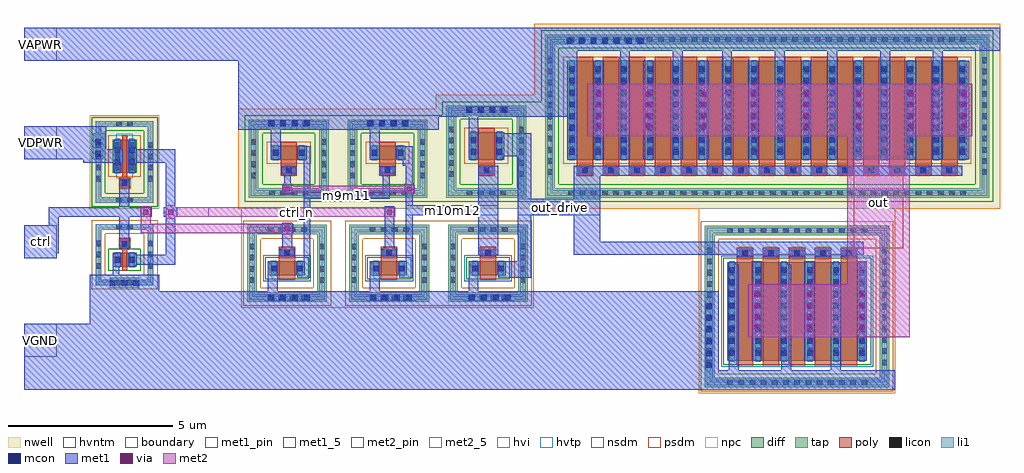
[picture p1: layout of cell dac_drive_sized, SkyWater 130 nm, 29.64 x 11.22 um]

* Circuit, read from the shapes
.subckt dac_drive_sized VAPWR VDPWR VGND ctrl ctrl_n m10m12 m9m11 out out_drive
XM1 ctrl_n ctrl VGND VGND sky130_fd_pr__nfet_01v8 w=0.42 l=0.15
XM2 m9m11 ctrl VGND VGND sky130_fd_pr__nfet_g5v0d10v5 w=0.42 l=0.5
XM3 m10m12 ctrl_n VGND VGND sky130_fd_pr__nfet_g5v0d10v5 w=0.42 l=0.5
XM4 out_drive m10m12 VGND VGND sky130_fd_pr__nfet_g5v0d10v5 w=0.42 l=0.5
XM5 out out_drive VGND VGND sky130_fd_pr__nfet_g5v0d10v5 w=3 l=0.5 m=5
XM6 ctrl_n ctrl VDPWR VDPWR sky130_fd_pr__pfet_01v8_hvt w=1 l=0.15
XM7 m9m11 m10m12 VAPWR VAPWR sky130_fd_pr__pfet_g5v0d10v5 w=0.42 l=0.5
XM8 m10m12 m9m11 VAPWR VAPWR sky130_fd_pr__pfet_g5v0d10v5 w=0.42 l=0.5
XM9 out_drive m10m12 VAPWR VAPWR sky130_fd_pr__pfet_g5v0d10v5 w=0.84 l=0.5
XM10 out out_drive VAPWR VAPWR sky130_fd_pr__pfet_g5v0d10v5 w=3 l=0.5 m=15
.ends

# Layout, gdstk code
from math import pi, radians
import gdstk
lib = gdstk.Library(unit=1e-6, precision=1e-09)
def R(c, l, rs):  # rectangles x0, y0, x1, y1
    for r in rs: c.add(gdstk.rectangle(r[:2], r[2:], *l))
def A(c, l, x, y, w, h, nx, ny, dx, dy):  # array of equal rectangles
    R(c, l, [(x+i*dx, y+j*dy, x+i*dx+w, y+j*dy+h) for i in range(nx) for j in range(ny)])
nwell = (64, 20)
diff = (65, 20)
tap = (65, 44)
poly = (66, 20)
licon = (66, 44)
li1 = (67, 20)
mcon = (67, 44)
met1_5 = (68, 5)
met1_pin = (68, 16)
met1 = (68, 20)
via = (68, 44)
met2_5 = (69, 5)
met2_pin = (69, 16)
met2 = (69, 20)
hvi = (75, 20)
hvtp = (78, 44)
nsdm = (93, 44)
psdm = (94, 20)
npc = (95, 20)
hvntm = (125, 20)
boundary = (235, 4)

sky130_fd_pr__pfet_g5v0d = lib.new_cell('sky130_fd_pr__pfet_g5v0d10v5_ZHZHT3')
R(sky130_fd_pr__pfet_g5v0d, nwell, [(-1.54,-1.52,1.54,1.52)])
R(sky130_fd_pr__pfet_g5v0d, diff, [(-0.54,-0.39,0.54,0.03)])
R(sky130_fd_pr__pfet_g5v0d, tap, [(-1.21,-1.19,1.21,-0.9), (-1.21,-0.9,-0.92,0.9), (0.92,-0.9,1.21,0.9), (-1.21,0.9,1.21,1.19)])
R(sky130_fd_pr__pfet_g5v0d, poly, [(-0.25,-0.52,0.25,0.515)])
A(sky130_fd_pr__pfet_g5v0d, licon, -0.595, -1.13, 0.17, 0.17, 4, 2, 0.34, 2.09)
A(sky130_fd_pr__pfet_g5v0d, licon, -1.15, -0.595, 0.17, 0.17, 1, 4, 0, 0.34)
A(sky130_fd_pr__pfet_g5v0d, licon, 0.98, -0.595, 0.17, 0.17, 1, 4, 0, 0.34)
R(sky130_fd_pr__pfet_g5v0d, licon, [(-0.48,-0.265,-0.31,-0.095), (0.31,-0.265,0.48,-0.095), (-0.085,0.265,0.085,0.435)])
R(sky130_fd_pr__pfet_g5v0d, li1, [(-1.15,-1.13,1.15,-0.96), (-1.15,-0.96,-0.98,0.96), (0.98,-0.96,1.15,0.96), (-0.48,-0.41,-0.31,0.05), (0.31,-0.41,0.48,0.05), (-0.25,0.265,0.25,0.435), (-1.15,0.96,1.15,1.13)])
R(sky130_fd_pr__pfet_g5v0d, mcon, [(-0.48,-0.265,-0.31,-0.095), (0.31,-0.265,0.48,-0.095), (-0.085,0.265,0.085,0.435)])
R(sky130_fd_pr__pfet_g5v0d, met1, [(-0.51,-0.39,-0.28,0.03), (0.28,-0.39,0.51,0.03), (-0.23,0.235,0.23,0.465)])
R(sky130_fd_pr__pfet_g5v0d, hvi, [(-1.54,-1.52,1.54,1.52)])
R(sky130_fd_pr__pfet_g5v0d, nsdm, [(-1.335,-1.315,1.335,-0.775), (-1.335,-0.775,-0.795,0.775), (0.795,-0.775,1.335,0.775), (-1.335,0.775,1.335,1.315)])
R(sky130_fd_pr__pfet_g5v0d, psdm, [(-0.665,-0.515,0.665,0.155)])
R(sky130_fd_pr__pfet_g5v0d, npc, [(-0.185,0.165,0.185,0.535)])
R(sky130_fd_pr__pfet_g5v0d, boundary, [(-1.065,-1.045,1.065,1.045)])

sky130_fd_pr__nfet_g5v0d = lib.new_cell('sky130_fd_pr__nfet_g5v0d10v5_ZFATWT')
R(sky130_fd_pr__nfet_g5v0d, diff, [(-0.54,-0.365,0.54,0.055)])
R(sky130_fd_pr__nfet_g5v0d, tap, [(-1.21,-1.165,1.21,-0.875), (-1.21,-0.875,-0.92,0.875), (0.92,-0.875,1.21,0.875), (-1.21,0.875,1.21,1.165)])
R(sky130_fd_pr__nfet_g5v0d, poly, [(-0.25,-0.495,0.25,0.495)])
A(sky130_fd_pr__nfet_g5v0d, licon, -0.595, -1.105, 0.17, 0.17, 4, 2, 0.34, 2.04)
A(sky130_fd_pr__nfet_g5v0d, licon, -1.15, -0.595, 0.17, 0.17, 1, 4, 0, 0.34)
A(sky130_fd_pr__nfet_g5v0d, licon, 0.98, -0.595, 0.17, 0.17, 1, 4, 0, 0.34)
R(sky130_fd_pr__nfet_g5v0d, licon, [(-0.48,-0.24,-0.31,-0.07), (0.31,-0.24,0.48,-0.07), (-0.085,0.245,0.085,0.415)])
R(sky130_fd_pr__nfet_g5v0d, li1, [(-1.15,-1.105,1.15,-0.935), (-1.15,-0.935,-0.98,0.935), (0.98,-0.935,1.15,0.935), (-0.48,-0.385,-0.31,0.075), (0.31,-0.385,0.48,0.075), (-0.25,0.245,0.25,0.415), (-1.15,0.935,1.15,1.105)])
R(sky130_fd_pr__nfet_g5v0d, mcon, [(-0.48,-0.24,-0.31,-0.07), (0.31,-0.24,0.48,-0.07), (-0.085,0.245,0.085,0.415)])
R(sky130_fd_pr__nfet_g5v0d, met1, [(-0.51,-0.365,-0.28,0.055), (0.28,-0.365,0.51,0.055), (-0.23,0.215,0.23,0.445)])
R(sky130_fd_pr__nfet_g5v0d, hvi, [(-1.395,-1.35,1.395,1.35)])
R(sky130_fd_pr__nfet_g5v0d, nsdm, [(-0.665,-0.49,0.665,0.18)])
R(sky130_fd_pr__nfet_g5v0d, psdm, [(-1.335,-1.29,1.335,-0.75), (-1.335,-0.75,-0.795,0.75), (0.795,-0.75,1.335,0.75), (-1.335,0.75,1.335,1.29)])
R(sky130_fd_pr__nfet_g5v0d, npc, [(-0.185,0.145,0.185,0.515)])
R(sky130_fd_pr__nfet_g5v0d, hvntm, [(-0.725,-0.55,0.725,0.24)])
R(sky130_fd_pr__nfet_g5v0d, boundary, [(-1.065,-1.02,1.065,1.02)])

sky130_fd_pr__pfet_01v8_ = lib.new_cell('sky130_fd_pr__pfet_01v8_hvt_MGS3BN')
R(sky130_fd_pr__pfet_01v8_, nwell, [(-1.055,-1.42,1.055,1.42)])
R(sky130_fd_pr__pfet_01v8_, diff, [(-0.365,-0.68,0.365,0.32)])
R(sky130_fd_pr__pfet_01v8_, tap, [(-0.875,-1.24,0.875,-1.07), (-0.875,-1.07,-0.705,1.07), (0.705,-1.07,0.875,1.07), (-0.875,1.07,0.875,1.24)])
R(sky130_fd_pr__pfet_01v8_, poly, [(-0.075,-0.81,0.075,0.475), (-0.165,0.475,0.165,0.805)])
A(sky130_fd_pr__pfet_01v8_, licon, -0.305, -0.605, 0.17, 0.17, 1, 3, 0, 0.34)
A(sky130_fd_pr__pfet_01v8_, licon, 0.135, -0.605, 0.17, 0.17, 1, 3, 0, 0.34)
A(sky130_fd_pr__pfet_01v8_, licon, -0.875, -0.595, 0.17, 0.17, 1, 4, 0, 0.34)
A(sky130_fd_pr__pfet_01v8_, licon, 0.705, -0.595, 0.17, 0.17, 1, 4, 0, 0.34)
R(sky130_fd_pr__pfet_01v8_, licon, [(-0.255,-1.24,-0.085,-1.07), (0.085,-1.24,0.255,-1.07), (-0.085,0.555,0.085,0.725), (-0.255,1.07,-0.085,1.24), (0.085,1.07,0.255,1.24)])
R(sky130_fd_pr__pfet_01v8_, li1, [(-0.875,-1.24,0.875,-1.07), (-0.875,-1.07,-0.705,1.07), (0.705,-1.07,0.875,1.07), (-0.305,-0.7,-0.135,0.34), (0.135,-0.7,0.305,0.34), (-0.165,0.555,0.165,0.725), (-0.875,1.07,0.875,1.24)])
R(sky130_fd_pr__pfet_01v8_, mcon, [(-0.305,-0.445,-0.135,-0.275), (0.135,-0.445,0.305,-0.275), (-0.305,-0.085,-0.135,0.085), (0.135,-0.085,0.305,0.085), (-0.085,0.555,0.085,0.725)])
R(sky130_fd_pr__pfet_01v8_, met1, [(-0.335,-0.68,-0.105,0.32), (0.105,-0.68,0.335,0.32), (-0.145,0.525,0.145,0.755)])
R(sky130_fd_pr__pfet_01v8_, hvtp, [(-0.255,-0.86,0.255,0.5)])
R(sky130_fd_pr__pfet_01v8_, nsdm, [(-1,-1.365,1,-0.945), (-1,-0.945,-0.58,0.945), (0.58,-0.945,1,0.945), (-1,0.945,1,1.365)])
R(sky130_fd_pr__pfet_01v8_, psdm, [(-0.49,-0.805,0.49,0.445)])
R(sky130_fd_pr__pfet_01v8_, npc, [(-0.185,0.455,0.185,0.825)])
R(sky130_fd_pr__pfet_01v8_, boundary, [(-0.79,-1.155,0.79,1.155)])

sky130_fd_pr__nfet_01v8_ = lib.new_cell('sky130_fd_pr__nfet_01v8_L78EGD')
R(sky130_fd_pr__nfet_01v8_, diff, [(-0.365,-0.365,0.365,0.055)])
R(sky130_fd_pr__nfet_01v8_, tap, [(-0.875,-0.925,0.875,-0.755), (-0.875,-0.755,-0.705,0.755), (0.705,-0.755,0.875,0.755), (-0.875,0.755,0.875,0.925)])
R(sky130_fd_pr__nfet_01v8_, poly, [(-0.075,-0.495,0.075,0.165), (-0.165,0.165,0.165,0.495)])
A(sky130_fd_pr__nfet_01v8_, licon, -0.875, -0.425, 0.17, 0.17, 1, 3, 0, 0.34)
A(sky130_fd_pr__nfet_01v8_, licon, 0.705, -0.425, 0.17, 0.17, 1, 3, 0, 0.34)
R(sky130_fd_pr__nfet_01v8_, licon, [(-0.255,-0.925,-0.085,-0.755), (0.085,-0.925,0.255,-0.755), (-0.305,-0.24,-0.135,-0.07), (0.135,-0.24,0.305,-0.07), (-0.085,0.245,0.085,0.415), (-0.255,0.755,-0.085,0.925), (0.085,0.755,0.255,0.925)])
R(sky130_fd_pr__nfet_01v8_, li1, [(-0.875,-0.925,0.875,-0.755), (-0.875,-0.755,-0.705,0.755), (0.705,-0.755,0.875,0.755), (-0.305,-0.385,-0.135,0.075), (0.135,-0.385,0.305,0.075), (-0.165,0.245,0.165,0.415), (-0.875,0.755,0.875,0.925)])
R(sky130_fd_pr__nfet_01v8_, mcon, [(-0.305,-0.24,-0.135,-0.07), (0.135,-0.24,0.305,-0.07), (-0.085,0.245,0.085,0.415)])
R(sky130_fd_pr__nfet_01v8_, met1, [(-0.335,-0.365,-0.105,0.055), (0.105,-0.365,0.335,0.055), (-0.145,0.215,0.145,0.445)])
R(sky130_fd_pr__nfet_01v8_, nsdm, [(-0.49,-0.49,0.49,0.18)])
R(sky130_fd_pr__nfet_01v8_, psdm, [(-1,-1.05,1,-0.63), (-1,-0.63,-0.58,0.63), (0.58,-0.63,1,0.63), (-1,0.63,1,1.05)])
R(sky130_fd_pr__nfet_01v8_, npc, [(-0.185,0.145,0.185,0.515)])
R(sky130_fd_pr__nfet_01v8_, boundary, [(-0.79,-0.84,0.79,0.84)])

c_sky130_fd_pr__nfet_g5v0d = lib.new_cell('sky130_fd_pr__nfet_g5v0d10v5_MDE9UL')
R(c_sky130_fd_pr__nfet_g5v0d, diff, [(-2.12,-1.655,2.12,1.345)])
R(c_sky130_fd_pr__nfet_g5v0d, tap, [(-2.8,-2.455,2.8,-2.165), (-2.8,-2.165,-2.51,2.165), (2.51,-2.165,2.8,2.165), (-2.8,2.165,2.8,2.455)])
A(c_sky130_fd_pr__nfet_g5v0d, poly, -1.83, -1.785, 0.5, 3.57, 5, 1, 0.79, 0)
A(c_sky130_fd_pr__nfet_g5v0d, licon, -2.125, -2.395, 0.17, 0.17, 13, 2, 0.34, 4.62)
A(c_sky130_fd_pr__nfet_g5v0d, licon, -2.74, -1.785, 0.17, 0.17, 1, 11, 0, 0.34)
A(c_sky130_fd_pr__nfet_g5v0d, licon, 2.57, -1.785, 0.17, 0.17, 1, 11, 0, 0.34)
A(c_sky130_fd_pr__nfet_g5v0d, licon, -2.06, -1.43, 0.17, 0.17, 6, 8, 0.79, 0.34)
A(c_sky130_fd_pr__nfet_g5v0d, licon, -1.665, 1.535, 0.17, 0.17, 5, 1, 0.79, 0)
A(c_sky130_fd_pr__nfet_g5v0d, li1, -2.06, -1.675, 0.17, 3.04, 6, 1, 0.79, 0)
A(c_sky130_fd_pr__nfet_g5v0d, li1, -1.83, 1.535, 0.5, 0.17, 5, 1, 0.79, 0)
R(c_sky130_fd_pr__nfet_g5v0d, li1, [(-2.74,-2.395,2.74,-2.225), (-2.74,-2.225,-2.57,2.225), (2.57,-2.225,2.74,2.225), (-2.74,2.225,2.74,2.395)])
A(c_sky130_fd_pr__nfet_g5v0d, mcon, -2.06, -1.5, 0.17, 0.17, 6, 8, 0.79, 0.36)
A(c_sky130_fd_pr__nfet_g5v0d, mcon, -1.665, 1.535, 0.17, 0.17, 5, 1, 0.79, 0)
A(c_sky130_fd_pr__nfet_g5v0d, met1, -2.09, -1.655, 0.23, 3, 6, 1, 0.79, 0)
A(c_sky130_fd_pr__nfet_g5v0d, met1, -1.81, 1.505, 0.46, 0.23, 5, 1, 0.79, 0)
R(c_sky130_fd_pr__nfet_g5v0d, hvi, [(-2.985,-2.64,2.985,2.64)])
R(c_sky130_fd_pr__nfet_g5v0d, nsdm, [(-2.245,-1.78,2.245,1.47)])
R(c_sky130_fd_pr__nfet_g5v0d, psdm, [(-2.925,-2.58,2.925,-2.04), (-2.925,-2.04,-2.385,2.04), (2.385,-2.04,2.925,2.04), (-2.925,2.04,2.925,2.58)])
A(c_sky130_fd_pr__nfet_g5v0d, npc, -1.765, 1.435, 0.37, 0.37, 5, 1, 0.79, 0)
R(c_sky130_fd_pr__nfet_g5v0d, hvntm, [(-2.305,-1.84,2.305,1.53)])
R(c_sky130_fd_pr__nfet_g5v0d, boundary, [(-2.655,-2.31,2.655,2.31)])
c_sky130_fd_pr__nfet_g5v0d.add(gdstk.Label('B', (0,-2.31), layer=67, texttype=5))
c_sky130_fd_pr__nfet_g5v0d.add(gdstk.Label('D0', (-1.975,-0.155), layer=67, texttype=5))
c_sky130_fd_pr__nfet_g5v0d.add(gdstk.Label('G0', (-1.58,1.62), layer=67, texttype=5))
c_sky130_fd_pr__nfet_g5v0d.add(gdstk.Label('S1', (-1.185,-0.155), layer=67, texttype=5))
c_sky130_fd_pr__nfet_g5v0d.add(gdstk.Label('G1', (-0.79,1.62), layer=67, texttype=5))
c_sky130_fd_pr__nfet_g5v0d.add(gdstk.Label('D2', (-0.395,-0.155), layer=67, texttype=5))
c_sky130_fd_pr__nfet_g5v0d.add(gdstk.Label('G2', (0,1.62), layer=67, texttype=5))
c_sky130_fd_pr__nfet_g5v0d.add(gdstk.Label('S3', (0.395,-0.155), layer=67, texttype=5))
c_sky130_fd_pr__nfet_g5v0d.add(gdstk.Label('G3', (0.79,1.62), layer=67, texttype=5))
c_sky130_fd_pr__nfet_g5v0d.add(gdstk.Label('D4', (1.185,-0.155), layer=67, texttype=5))
c_sky130_fd_pr__nfet_g5v0d.add(gdstk.Label('S4', (1.975,-0.155), layer=67, texttype=5))
c_sky130_fd_pr__nfet_g5v0d.add(gdstk.Label('G4', (1.58,1.62), layer=67, texttype=5))

c_sky130_fd_pr__pfet_g5v0d = lib.new_cell('sky130_fd_pr__pfet_g5v0d10v5_RW5GT3')
R(c_sky130_fd_pr__pfet_g5v0d, nwell, [(-1.54,-1.73,1.54,1.73)])
R(c_sky130_fd_pr__pfet_g5v0d, diff, [(-0.54,-0.6,0.54,0.24)])
R(c_sky130_fd_pr__pfet_g5v0d, tap, [(-1.21,-1.4,1.21,-1.11), (-1.21,-1.11,-0.92,1.11), (0.92,-1.11,1.21,1.11), (-1.21,1.11,1.21,1.4)])
R(c_sky130_fd_pr__pfet_g5v0d, poly, [(-0.25,-0.73,0.25,0.725)])
A(c_sky130_fd_pr__pfet_g5v0d, licon, -0.595, -1.34, 0.17, 0.17, 4, 2, 0.34, 2.51)
A(c_sky130_fd_pr__pfet_g5v0d, licon, -1.15, -0.765, 0.17, 0.17, 1, 5, 0, 0.34)
A(c_sky130_fd_pr__pfet_g5v0d, licon, 0.98, -0.765, 0.17, 0.17, 1, 5, 0, 0.34)
R(c_sky130_fd_pr__pfet_g5v0d, licon, [(-0.48,-0.435,-0.31,-0.265), (0.31,-0.435,0.48,-0.265), (-0.48,-0.095,-0.31,0.075), (0.31,-0.095,0.48,0.075), (-0.085,0.475,0.085,0.645)])
R(c_sky130_fd_pr__pfet_g5v0d, li1, [(-1.15,-1.34,1.15,-1.17), (-1.15,-1.17,-0.98,1.17), (0.98,-1.17,1.15,1.17), (-0.48,-0.62,-0.31,0.26), (0.31,-0.62,0.48,0.26), (-0.25,0.475,0.25,0.645), (-1.15,1.17,1.15,1.34)])
R(c_sky130_fd_pr__pfet_g5v0d, mcon, [(-0.48,-0.445,-0.31,-0.275), (0.31,-0.445,0.48,-0.275), (-0.48,-0.085,-0.31,0.085), (0.31,-0.085,0.48,0.085), (-0.085,0.475,0.085,0.645)])
R(c_sky130_fd_pr__pfet_g5v0d, met1, [(-0.51,-0.6,-0.28,0.24), (0.28,-0.6,0.51,0.24), (-0.23,0.445,0.23,0.675)])
R(c_sky130_fd_pr__pfet_g5v0d, hvi, [(-1.54,-1.73,1.54,1.73)])
R(c_sky130_fd_pr__pfet_g5v0d, nsdm, [(-1.335,-1.525,1.335,-0.985), (-1.335,-0.985,-0.795,0.985), (0.795,-0.985,1.335,0.985), (-1.335,0.985,1.335,1.525)])
R(c_sky130_fd_pr__pfet_g5v0d, psdm, [(-0.665,-0.725,0.665,0.365)])
R(c_sky130_fd_pr__pfet_g5v0d, npc, [(-0.185,0.375,0.185,0.745)])
R(c_sky130_fd_pr__pfet_g5v0d, boundary, [(-1.065,-1.255,1.065,1.255)])

c_sky130_fd_pr__pfet_g5v0d_ = lib.new_cell('sky130_fd_pr__pfet_g5v0d10v5_EFV6VS')
R(c_sky130_fd_pr__pfet_g5v0d_, nwell, [(-7.07,-2.81,7.07,2.81)])
R(c_sky130_fd_pr__pfet_g5v0d_, diff, [(-6.07,-1.68,6.07,1.32)])
R(c_sky130_fd_pr__pfet_g5v0d_, tap, [(-6.74,-2.48,6.74,-2.19), (-6.74,-2.19,-6.45,2.19), (6.45,-2.19,6.74,2.19), (-6.74,2.19,6.74,2.48)])
A(c_sky130_fd_pr__pfet_g5v0d_, poly, -5.78, -1.81, 0.5, 3.615, 15, 1, 0.79, 0)
A(c_sky130_fd_pr__pfet_g5v0d_, licon, -6.035, -2.42, 0.17, 0.17, 36, 2, 0.34, 4.67)
A(c_sky130_fd_pr__pfet_g5v0d_, licon, -6.68, -1.785, 0.17, 0.17, 1, 11, 0, 0.34)
A(c_sky130_fd_pr__pfet_g5v0d_, licon, 6.51, -1.785, 0.17, 0.17, 1, 11, 0, 0.34)
A(c_sky130_fd_pr__pfet_g5v0d_, licon, -6.01, -1.455, 0.17, 0.17, 16, 8, 0.79, 0.34)
A(c_sky130_fd_pr__pfet_g5v0d_, licon, -5.615, 1.555, 0.17, 0.17, 15, 1, 0.79, 0)
A(c_sky130_fd_pr__pfet_g5v0d_, li1, -6.01, -1.7, 0.17, 3.04, 16, 1, 0.79, 0)
A(c_sky130_fd_pr__pfet_g5v0d_, li1, -5.78, 1.555, 0.5, 0.17, 15, 1, 0.79, 0)
R(c_sky130_fd_pr__pfet_g5v0d_, li1, [(-6.68,-2.42,6.68,-2.25), (-6.68,-2.25,-6.51,2.25), (6.51,-2.25,6.68,2.25), (-6.68,2.25,6.68,2.42)])
A(c_sky130_fd_pr__pfet_g5v0d_, mcon, -6.01, -1.525, 0.17, 0.17, 16, 8, 0.79, 0.36)
A(c_sky130_fd_pr__pfet_g5v0d_, mcon, -5.615, 1.555, 0.17, 0.17, 15, 1, 0.79, 0)
A(c_sky130_fd_pr__pfet_g5v0d_, met1, -6.04, -1.68, 0.23, 3, 16, 1, 0.79, 0)
A(c_sky130_fd_pr__pfet_g5v0d_, met1, -5.76, 1.525, 0.46, 0.23, 15, 1, 0.79, 0)
R(c_sky130_fd_pr__pfet_g5v0d_, hvi, [(-7.07,-2.81,7.07,2.81)])
R(c_sky130_fd_pr__pfet_g5v0d_, nsdm, [(-6.865,-2.605,6.865,-2.065), (-6.865,-2.065,-6.325,2.065), (6.325,-2.065,6.865,2.065), (-6.865,2.065,6.865,2.605)])
R(c_sky130_fd_pr__pfet_g5v0d_, psdm, [(-6.195,-1.805,6.195,1.445)])
A(c_sky130_fd_pr__pfet_g5v0d_, npc, -5.715, 1.455, 0.37, 0.37, 15, 1, 0.79, 0)
R(c_sky130_fd_pr__pfet_g5v0d_, boundary, [(-6.595,-2.335,6.595,2.335)])
c_sky130_fd_pr__pfet_g5v0d_.add(gdstk.Label('B', (0,-2.335), layer=67, texttype=5))
c_sky130_fd_pr__pfet_g5v0d_.add(gdstk.Label('D0', (-5.925,-0.18), layer=67, texttype=5))
c_sky130_fd_pr__pfet_g5v0d_.add(gdstk.Label('G0', (-5.53,1.64), layer=67, texttype=5))
c_sky130_fd_pr__pfet_g5v0d_.add(gdstk.Label('S1', (-5.135,-0.18), layer=67, texttype=5))
c_sky130_fd_pr__pfet_g5v0d_.add(gdstk.Label('G1', (-4.74,1.64), layer=67, texttype=5))
c_sky130_fd_pr__pfet_g5v0d_.add(gdstk.Label('D2', (-4.345,-0.18), layer=67, texttype=5))
c_sky130_fd_pr__pfet_g5v0d_.add(gdstk.Label('G2', (-3.95,1.64), layer=67, texttype=5))
c_sky130_fd_pr__pfet_g5v0d_.add(gdstk.Label('S3', (-3.555,-0.18), layer=67, texttype=5))
c_sky130_fd_pr__pfet_g5v0d_.add(gdstk.Label('G3', (-3.16,1.64), layer=67, texttype=5))
c_sky130_fd_pr__pfet_g5v0d_.add(gdstk.Label('D4', (-2.765,-0.18), layer=67, texttype=5))
c_sky130_fd_pr__pfet_g5v0d_.add(gdstk.Label('G4', (-2.37,1.64), layer=67, texttype=5))
c_sky130_fd_pr__pfet_g5v0d_.add(gdstk.Label('S5', (-1.975,-0.18), layer=67, texttype=5))
c_sky130_fd_pr__pfet_g5v0d_.add(gdstk.Label('G5', (-1.58,1.64), layer=67, texttype=5))
c_sky130_fd_pr__pfet_g5v0d_.add(gdstk.Label('D6', (-1.185,-0.18), layer=67, texttype=5))
c_sky130_fd_pr__pfet_g5v0d_.add(gdstk.Label('G6', (-0.79,1.64), layer=67, texttype=5))
c_sky130_fd_pr__pfet_g5v0d_.add(gdstk.Label('S7', (-0.395,-0.18), layer=67, texttype=5))
c_sky130_fd_pr__pfet_g5v0d_.add(gdstk.Label('G7', (0,1.64), layer=67, texttype=5))
c_sky130_fd_pr__pfet_g5v0d_.add(gdstk.Label('D8', (0.395,-0.18), layer=67, texttype=5))
c_sky130_fd_pr__pfet_g5v0d_.add(gdstk.Label('G8', (0.79,1.64), layer=67, texttype=5))
c_sky130_fd_pr__pfet_g5v0d_.add(gdstk.Label('S9', (1.185,-0.18), layer=67, texttype=5))
c_sky130_fd_pr__pfet_g5v0d_.add(gdstk.Label('G9', (1.58,1.64), layer=67, texttype=5))
c_sky130_fd_pr__pfet_g5v0d_.add(gdstk.Label('D10', (1.975,-0.18), layer=67, texttype=5))
c_sky130_fd_pr__pfet_g5v0d_.add(gdstk.Label('G10', (2.37,1.64), layer=67, texttype=5))
c_sky130_fd_pr__pfet_g5v0d_.add(gdstk.Label('S11', (2.765,-0.18), layer=67, texttype=5))
c_sky130_fd_pr__pfet_g5v0d_.add(gdstk.Label('G11', (3.16,1.64), layer=67, texttype=5))
c_sky130_fd_pr__pfet_g5v0d_.add(gdstk.Label('D12', (3.555,-0.18), layer=67, texttype=5))
c_sky130_fd_pr__pfet_g5v0d_.add(gdstk.Label('G12', (3.95,1.64), layer=67, texttype=5))
c_sky130_fd_pr__pfet_g5v0d_.add(gdstk.Label('S13', (4.345,-0.18), layer=67, texttype=5))
c_sky130_fd_pr__pfet_g5v0d_.add(gdstk.Label('G13', (4.74,1.64), layer=67, texttype=5))
c_sky130_fd_pr__pfet_g5v0d_.add(gdstk.Label('D14', (5.135,-0.18), layer=67, texttype=5))
c_sky130_fd_pr__pfet_g5v0d_.add(gdstk.Label('S14', (5.925,-0.18), layer=67, texttype=5))
c_sky130_fd_pr__pfet_g5v0d_.add(gdstk.Label('G14', (5.53,1.64), layer=67, texttype=5))

dac_drive_sized = lib.new_cell('dac_drive_sized')
A(dac_drive_sized, nwell, 4.7, 5.3, 0.2, 0.7, 3, 1, 1.6, 0)
A(dac_drive_sized, nwell, 3.9, 5.8, 0.2, 0.2, 4, 1, 1.6, 0)
R(dac_drive_sized, li1, [(5.7,-3.9,5.9,-1.8), (-7.7,-1.8,-6.2,-1.6), (-4.6,-1.8,-3.1,-1.6), (-1.6,-1.8,-0.1,-1.6), (-12.4,-1.4,-11.5,-1.1), (-12.9,2.5,-12.6,3.3), (-7.6,3.5,-6.3,3.7), (-4.6,3.5,-3.3,3.7), (-1.6,3.9,-0.3,4.1), (1.4,6,3.9,6.2)])
A(dac_drive_sized, mcon, 5.715, -3.835, 0.17, 0.17, 1, 6, 0, 0.36)
A(dac_drive_sized, mcon, -7.575, -1.785, 0.17, 0.17, 4, 2, 0.36, 5.3)
A(dac_drive_sized, mcon, -4.475, -1.785, 0.17, 0.17, 4, 1, 0.36, 0)
A(dac_drive_sized, mcon, -1.475, -1.785, 0.17, 0.17, 4, 1, 0.36, 0)
A(dac_drive_sized, mcon, -12.395, -1.335, 0.17, 0.17, 3, 1, 0.36, 0)
A(dac_drive_sized, mcon, -4.575, 3.515, 0.17, 0.17, 4, 1, 0.36, 0)
A(dac_drive_sized, mcon, -1.575, 3.915, 0.17, 0.17, 4, 1, 0.36, 0)
A(dac_drive_sized, mcon, 1.485, 6.015, 0.17, 0.17, 7, 1, 0.36, 0)
R(dac_drive_sized, mcon, [(-12.835,2.585,-12.665,2.755), (-12.835,2.945,-12.665,3.115)])
R(dac_drive_sized, met1_5, [(-3.4,0.8,-0.6,1.1), (0,0.8,2.5,1.3), (-6.5,1.3,-3.9,1.5)])
A(dac_drive_sized, met1_pin, -15, -3.5, 1, 1, 1, 4, 0, 3)
A(dac_drive_sized, met1, 7.1, -3.6, 0.3, 3, 3, 1, 1.6, 0)
A(dac_drive_sized, met1, 6.2, 2.5, 0.3, 3.3, 5, 1, 1.6, 0)
A(dac_drive_sized, met1, 7, 2.5, 0.3, 3, 5, 1, 1.6, 0)
R(dac_drive_sized, met1, [(-15,-4.5,11.46,-3.9), (-15,-3.9,6.1,-2.5), (6.4,-3.9,6.7,-0.7), (8,-3.9,8.3,-0.7), (9.5,-3.9,9.8,-0.7), (-13,-2.5,6.1,-1.5), (-13,-1.5,-10.9,-1), (-7.6,-1.5,-7.3,-0.6), (-4.5,-1.5,-4.2,-0.6), (-1.5,-1.5,-1.2,-0.6), (-6.7,-1.1,-6.3,-0.6), (-3.6,-1.1,-3.2,-0.6), (-0.6,-1.1,0.4,-0.6), (-12.3,-1,-12.1,-0.4), (-11.8,-0.7,-10.4,-0.4), (-6.5,-0.6,-6.3,1.3), (-3.4,-0.6,-3.2,0.8), (0,-0.6,0.4,0.8), (-15,-0.5,-14,-0.35), (-7.15,-0.45,-6.85,0.25), (-4.05,-0.45,-3.75,1.08), (-10.7,-0.4,-10.4,0.75), (-1.2,-0.4,-0.6,0.8), (1.7,-0.4,10.5,0), (-15,-0.35,-13.95,0.5), (-12.1,-0.2,-11.8,0.75), (1.7,0,2.5,0.8), (-7.18,0.25,-6.82,0.55), (-14.25,0.5,-13.95,0.75), (-14.25,0.75,-11.12,1.05), (-10.75,0.75,-10.35,1.05), (-3.4,0.8,-0.6,1.1), (0,0.8,2.5,1.3), (-12.1,1.05,-11.8,1.9), (-10.7,1.05,-10.4,2.4), (-3.4,1.1,-3.2,1.44), (-1.2,1.1,-0.6,2.3), (-6.5,1.3,-3.9,1.5), (0,1.3,0.4,2.6), (1.7,1.3,2.5,2), (-7.13,1.44,-6.87,1.76), (-3.43,1.44,-3.17,1.76), (-6.5,1.5,-6.3,2.5), (-4.1,1.5,-3.9,2.2), (-7.1,1.76,-6.9,2.3), (-3.4,1.76,-3.2,2.3), (1.7,2,13.5,2.3), (-3.5,2.3,-3.2,2.5), (-13.2,2.4,-12,2.5), (-11.8,2.4,-10.4,2.8), (-15,2.5,-12,2.8), (-7.5,2.5,-7.2,3.4), (-6.7,2.5,-6.3,2.9), (-4.5,2.5,-4.2,3.4), (-3.7,2.5,-3.2,2.9), (-1.5,2.5,-1.2,3.8), (1.5,2.5,1.8,3.8), (2.3,2.5,2.6,5.5), (3.1,2.5,3.4,5.8), (3.8,2.5,4.1,5.5), (4.7,2.5,5,5.8), (5.5,2.5,5.8,5.5), (-0.6,2.6,0.4,3.3), (-15,2.8,-12.5,3.5), (-8.5,3.4,-2.4,3.8), (-8.5,3.8,1.8,5.5), (-15,5.5,1.8,5.8), (-15,5.8,14.64,6.5)])
A(dac_drive_sized, via, 7.175, -2.655, 0.15, 0.15, 3, 4, 1.6, 0.32)
A(dac_drive_sized, via, 2.375, 3.445, 0.15, 0.15, 1, 4, 0, 0.32)
A(dac_drive_sized, via, 3.875, 3.445, 0.15, 0.15, 1, 4, 0, 0.32)
A(dac_drive_sized, via, 5.575, 3.445, 0.15, 0.15, 1, 4, 0, 0.32)
A(dac_drive_sized, via, 7.075, 3.445, 0.15, 0.15, 5, 4, 1.6, 0.32)
R(dac_drive_sized, via, [(-7.075,0.325,-6.925,0.475), (-11.375,0.825,-11.225,0.975), (-10.625,0.825,-10.475,0.975), (-3.975,0.825,-3.825,0.975), (-7.075,1.525,-6.925,1.675), (-3.375,1.525,-3.225,1.675)])
R(dac_drive_sized, met2_5, [(-9.4,0.75,-4.05,1.05)])
R(dac_drive_sized, met2_pin, [(10.2,-0.2,11.7,2.6)])
R(dac_drive_sized, met2, [(7,-2.9,11.9,-1.3), (10,-1.3,11.9,3.2), (-7.15,0.22,-6.85,0.25), (-11.45,0.25,-6.85,0.55), (-11.45,0.55,-11.15,1.08), (-7.15,0.55,-6.85,0.58), (-10.7,0.7,-10.4,0.75), (-10.7,0.75,-3.72,1.05), (-10.7,1.05,-10.4,1.1), (-7.16,1.47,-6.84,1.5), (-3.46,1.47,-3.14,1.5), (-7.16,1.5,-3.14,1.7), (-7.16,1.7,-6.84,1.73), (-3.46,1.7,-3.14,1.73), (2.1,3.2,13.8,4.8)])
R(dac_drive_sized, hvi, [(-5.615,-2.005,-5.305,0.695), (-2.515,-2.005,-2.305,0.695), (5.495,0.675,11.465,1), (-8.405,0.695,0.485,1)])
R(dac_drive_sized, nsdm, [(-5.625,1.205,-5.295,3.835), (-2.625,1.205,-2.295,3.835), (0.375,1.205,0.705,4.255)])
R(dac_drive_sized, psdm, [(-2.575,-1.945,-2.245,0.635)])
dac_drive_sized.add(gdstk.Reference(sky130_fd_pr__pfet_g5v0d, (-3.96,2.52), x_reflection=True))
dac_drive_sized.add(gdstk.Reference(sky130_fd_pr__pfet_g5v0d, (-6.96,2.52), x_reflection=True))
dac_drive_sized.add(gdstk.Reference(sky130_fd_pr__nfet_g5v0d, (-3.91,-0.655)))
dac_drive_sized.add(gdstk.Reference(sky130_fd_pr__nfet_g5v0d, (-7.01,-0.655)))
dac_drive_sized.add(gdstk.Reference(sky130_fd_pr__pfet_01v8_, (-11.945,2.42), x_reflection=True))
dac_drive_sized.add(gdstk.Reference(sky130_fd_pr__nfet_01v8_, (-11.945,-0.395)))
dac_drive_sized.add(gdstk.Reference(c_sky130_fd_pr__nfet_g5v0d, (8.48,-1.965)))
dac_drive_sized.add(gdstk.Reference(sky130_fd_pr__nfet_g5v0d, (-0.91,-0.655), rotation=pi, x_reflection=True))
dac_drive_sized.add(gdstk.Reference(c_sky130_fd_pr__pfet_g5v0d, (-0.96,2.73), x_reflection=True))
dac_drive_sized.add(gdstk.Reference(c_sky130_fd_pr__pfet_g5v0d_, (7.57,3.81), x_reflection=True))
dac_drive_sized.add(gdstk.Label('ctrl_n', (-6.725,0.9), layer=69, texttype=5))
dac_drive_sized.add(gdstk.Label('m10m12', (-2,0.95), layer=68, texttype=5))
dac_drive_sized.add(gdstk.Label('m9m11', (-5.2,1.4), layer=68, texttype=5))
dac_drive_sized.add(gdstk.Label('out_drive', (1.25,1.05), layer=68, texttype=5))
dac_drive_sized.add(gdstk.Label('VAPWR', (-14.5,6), layer=68, texttype=5))
dac_drive_sized.add(gdstk.Label('VDPWR', (-14.5,3), layer=68, texttype=5))
dac_drive_sized.add(gdstk.Label('ctrl', (-14.5,0), layer=68, texttype=5))
dac_drive_sized.add(gdstk.Label('out', (10.95,1.2), layer=69, texttype=5))
dac_drive_sized.add(gdstk.Label('VGND', (-14.5,-3), layer=68, texttype=5))

lib.write_gds('dac_drive_sized.gds')
